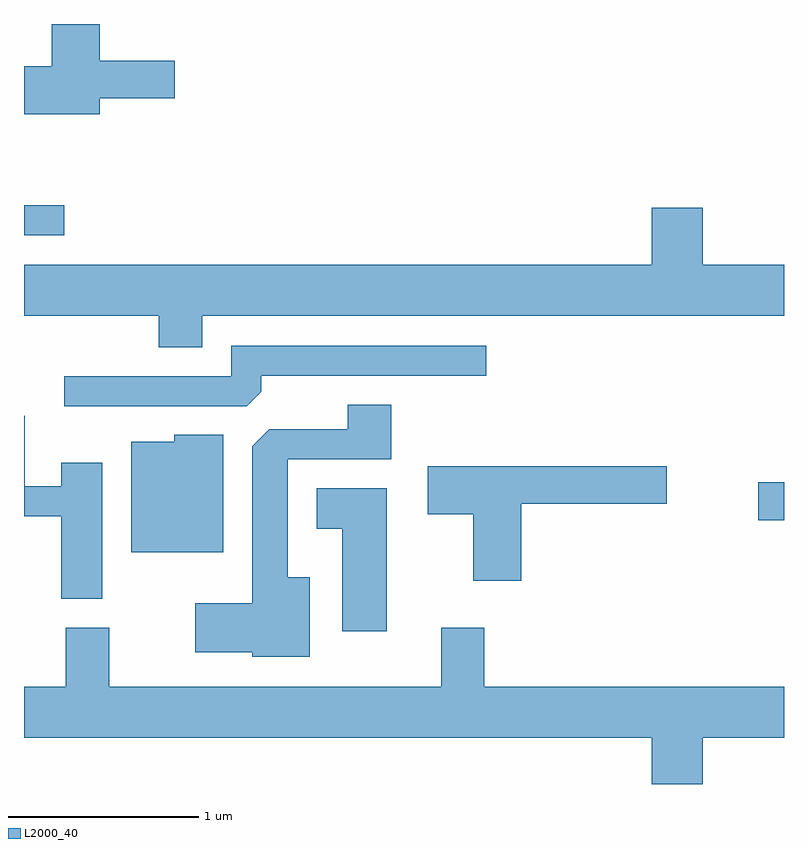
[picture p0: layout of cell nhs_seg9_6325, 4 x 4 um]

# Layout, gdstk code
import gdstk
lib = gdstk.Library(unit=1e-6, precision=1e-09)
def R(c, l, rs):  # rectangles x0, y0, x1, y1
    for r in rs: c.add(gdstk.rectangle(r[:2], r[2:], *l))
def P(c, l, *ps):  # polygons
    for p in ps: c.add(gdstk.Polygon(p, *l))
L2000_40 = (2000, 40)

nhs_seg9_6325 = lib.new_cell('nhs_seg9_6325')
R(nhs_seg9_6325, L2000_40, [(375.476,2021.821,375.611,2022.019), (371.611,2023.321,371.823,2023.479)])
P(nhs_seg9_6325, L2000_40, [(372.009,2024.041),(372.404,2024.041),(372.404,2024.239),(372.009,2024.239),(372.009,2024.432),(371.756,2024.432),(371.756,2024.209),(371.611,2024.209),(371.611,2023.956),(372.009,2023.956)],
  [(372.549,2022.896),(375.611,2022.896),(375.611,2023.164),(375.184,2023.164),(375.184,2023.464),(374.916,2023.464),(374.916,2023.164),(371.611,2023.164),(371.611,2022.896),(372.321,2022.896),(372.321,2022.731),(372.549,2022.731)],
  [(372.859,2022.497),(372.859,2022.581),(374.043,2022.581),(374.043,2022.739),(372.701,2022.739),(372.701,2022.579),(371.823,2022.579),(371.823,2022.421),(372.784,2022.421)],
  [(373.114,2021.519),(372.999,2021.519),(372.999,2022.141),(373.544,2022.141),(373.544,2022.429),(373.316,2022.429),(373.316,2022.299),(372.902,2022.299),(372.811,2022.209),(372.811,2021.384),(372.511,2021.384),(372.511,2021.126),(372.811,2021.126),(372.811,2021.101),(373.114,2021.101)],
  [(372.024,2022.124),(371.806,2022.124),(371.806,2021.999),(371.614,2021.999),(371.614,2022.369),(371.611,2022.369),(371.611,2021.841),(371.806,2021.841),(371.806,2021.406),(372.024,2021.406)],
  [(372.659,2022.269),(372.401,2022.269),(372.401,2022.234),(372.176,2022.234),(372.176,2021.651),(372.659,2021.651)],
  [(374.229,2021.906),(374.994,2021.906),(374.994,2022.104),(373.736,2022.104),(373.736,2021.851),(373.976,2021.851),(373.976,2021.501),(374.229,2021.501)],
  [(373.519,2021.989),(373.151,2021.989),(373.151,2021.776),(373.286,2021.776),(373.286,2021.236),(373.519,2021.236)],
  [(375.184,2020.676),(375.611,2020.676),(375.611,2020.944),(374.034,2020.944),(374.034,2021.254),(373.806,2021.254),(373.806,2020.944),(372.059,2020.944),(372.059,2021.254),(371.831,2021.254),(371.831,2020.944),(371.611,2020.944),(371.611,2020.676),(374.916,2020.676),(374.916,2020.432),(375.184,2020.432)])

lib.write_gds('nhs_seg9_6325.gds')
